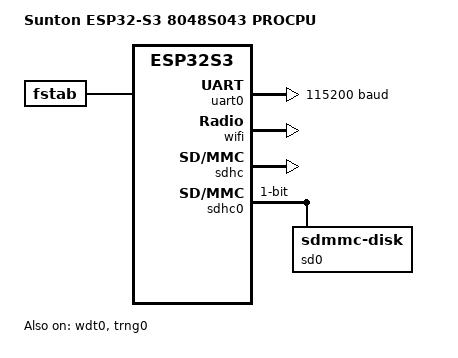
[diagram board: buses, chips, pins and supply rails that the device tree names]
/dts-v1/;

#include <espressif/esp32s3/esp32s3_wroom_n16r8.dtsi>
#include <espressif/partitions_0x0_amp_16M.dtsi>
#include "esp32s3_8048S043-pinctrl.dtsi"

/ {
	model = "Sunton ESP32-S3 8048S043 PROCPU";
	compatible = "espressif,esp32s3";

	aliases {
		watchdog0 = &wdt0;
		uart-0 = &uart0;
	};

	chosen {
		zephyr,sram = &sram1;
		zephyr,console = &uart0;
		zephyr,shell-uart = &uart0;
		zephyr,flash = &flash0;
		zephyr,code-partition = &slot0_partition;
	};
};

&uart0 {
	status = "okay";
	current-speed = <115200>;
	pinctrl-0 = <&uart0_default>;
	pinctrl-names = "default";
};

&gpio0 {
	status = "okay";
};

&gpio1 {
	status = "okay";
};

&wdt0 {
	status = "okay";
};

&trng0 {
	status = "okay";
};

&wifi {
	status = "okay";
};

&sdhc {
	status = "okay";
};

&sdhc0 {
	status = "okay";
	bus-width = <1>;
	pinctrl-0 = <&sdhc0_default>;
	pinctrl-names = "default";

	sd0: sd {
		compatible = "zephyr,sdmmc-disk";
		disk-name = "SD";
		status = "okay";
	};
};

/ {
	fstab {
		compatible = "zephyr,fstab";
		sd: sd {
			compatible = "zephyr,fstab,fatfs";
			mount-point = "/SD:";
			disk-access;
			automount;
		};
	};
};
